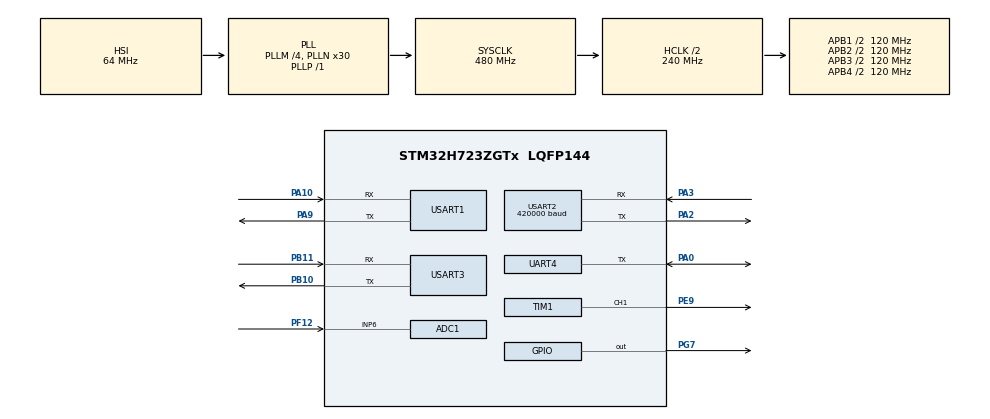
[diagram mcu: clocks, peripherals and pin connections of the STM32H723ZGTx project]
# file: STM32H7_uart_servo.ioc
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ADC1.Channel-2\#ChannelRegularConversion=ADC_CHANNEL_6
ADC1.NbrOfConversionFlag=1
ADC1.OffsetNumber-2\#ChannelRegularConversion=ADC_OFFSET_NONE
ADC1.OffsetSignedSaturation-2\#ChannelRegularConversion=DISABLE
ADC1.Rank-2\#ChannelRegularConversion=1
ADC1.SamplingTime-2\#ChannelRegularConversion=ADC_SAMPLETIME_1CYCLE_5
ADC1.master=1
CORTEX_M7.default_mode_Activation=1
Dma.Request0=USART2_RX
Dma.Request1=USART2_TX
Dma.Request2=USART1_RX
Dma.Request3=USART1_TX
Dma.Request4=USART3_RX
Dma.Request5=USART3_TX
Dma.USART1_RX.2.Direction=DMA_PERIPH_TO_MEMORY
Dma.USART1_RX.2.EventEnable=DISABLE
Dma.USART1_RX.2.FIFOMode=DMA_FIFOMODE_DISABLE
Dma.USART1_RX.2.Instance=DMA1_Stream0
Dma.USART1_RX.2.MemDataAlignment=DMA_MDATAALIGN_BYTE
Dma.USART1_RX.2.MemInc=DMA_MINC_ENABLE
Dma.USART1_RX.2.Mode=DMA_NORMAL
Dma.USART1_RX.2.PeriphDataAlignment=DMA_PDATAALIGN_BYTE
Dma.USART1_RX.2.PeriphInc=DMA_PINC_DISABLE
Dma.USART1_RX.2.Polarity=HAL_DMAMUX_REQ_GEN_RISING
Dma.USART1_RX.2.Priority=DMA_PRIORITY_LOW
Dma.USART1_RX.2.RequestNumber=1
Dma.USART1_RX.2.SignalID=NONE
Dma.USART1_RX.2.SyncEnable=DISABLE
Dma.USART1_RX.2.SyncPolarity=HAL_DMAMUX_SYNC_NO_EVENT
Dma.USART1_RX.2.SyncRequestNumber=1
Dma.USART1_RX.2.SyncSignalID=NONE
Dma.USART1_TX.3.Direction=DMA_MEMORY_TO_PERIPH
Dma.USART1_TX.3.EventEnable=DISABLE
Dma.USART1_TX.3.FIFOMode=DMA_FIFOMODE_DISABLE
Dma.USART1_TX.3.Instance=DMA1_Stream1
Dma.USART1_TX.3.MemDataAlignment=DMA_MDATAALIGN_BYTE
Dma.USART1_TX.3.MemInc=DMA_MINC_ENABLE
Dma.USART1_TX.3.Mode=DMA_NORMAL
Dma.USART1_TX.3.PeriphDataAlignment=DMA_PDATAALIGN_BYTE
Dma.USART1_TX.3.PeriphInc=DMA_PINC_DISABLE
Dma.USART1_TX.3.Polarity=HAL_DMAMUX_REQ_GEN_RISING
Dma.USART1_TX.3.Priority=DMA_PRIORITY_LOW
Dma.USART1_TX.3.RequestNumber=1
Dma.USART1_TX.3.SignalID=NONE
Dma.USART1_TX.3.SyncEnable=DISABLE
Dma.USART1_TX.3.SyncPolarity=HAL_DMAMUX_SYNC_NO_EVENT
Dma.USART1_TX.3.SyncRequestNumber=1
Dma.USART1_TX.3.SyncSignalID=NONE
Dma.USART2_RX.0.Direction=DMA_PERIPH_TO_MEMORY
Dma.USART2_RX.0.EventEnable=DISABLE
Dma.USART2_RX.0.FIFOMode=DMA_FIFOMODE_DISABLE
Dma.USART2_RX.0.Instance=DMA1_Stream2
Dma.USART2_RX.0.MemDataAlignment=DMA_MDATAALIGN_BYTE
Dma.USART2_RX.0.MemInc=DMA_MINC_ENABLE
Dma.USART2_RX.0.Mode=DMA_NORMAL
Dma.USART2_RX.0.PeriphDataAlignment=DMA_PDATAALIGN_BYTE
Dma.USART2_RX.0.PeriphInc=DMA_PINC_DISABLE
Dma.USART2_RX.0.Polarity=HAL_DMAMUX_REQ_GEN_RISING
Dma.USART2_RX.0.Priority=DMA_PRIORITY_LOW
Dma.USART2_RX.0.RequestNumber=1
Dma.USART2_RX.0.SignalID=NONE
Dma.USART2_RX.0.SyncEnable=DISABLE
Dma.USART2_RX.0.SyncPolarity=HAL_DMAMUX_SYNC_NO_EVENT
Dma.USART2_RX.0.SyncRequestNumber=1
Dma.USART2_RX.0.SyncSignalID=NONE
Dma.USART2_TX.1.Direction=DMA_MEMORY_TO_PERIPH
Dma.USART2_TX.1.EventEnable=DISABLE
Dma.USART2_TX.1.FIFOMode=DMA_FIFOMODE_DISABLE
Dma.USART2_TX.1.Instance=DMA1_Stream3
Dma.USART2_TX.1.MemDataAlignment=DMA_MDATAALIGN_BYTE
Dma.USART2_TX.1.MemInc=DMA_MINC_ENABLE
Dma.USART2_TX.1.Mode=DMA_NORMAL
Dma.USART2_TX.1.PeriphDataAlignment=DMA_PDATAALIGN_BYTE
Dma.USART2_TX.1.PeriphInc=DMA_PINC_DISABLE
Dma.USART2_TX.1.Polarity=HAL_DMAMUX_REQ_GEN_RISING
Dma.USART2_TX.1.Priority=DMA_PRIORITY_LOW
Dma.USART2_TX.1.RequestNumber=1
Dma.USART2_TX.1.SignalID=NONE
Dma.USART2_TX.1.SyncEnable=DISABLE
Dma.USART2_TX.1.SyncPolarity=HAL_DMAMUX_SYNC_NO_EVENT
Dma.USART2_TX.1.SyncRequestNumber=1
Dma.USART2_TX.1.SyncSignalID=NONE
Dma.USART3_RX.4.Direction=DMA_PERIPH_TO_MEMORY
Dma.USART3_RX.4.EventEnable=DISABLE
Dma.USART3_RX.4.FIFOMode=DMA_FIFOMODE_DISABLE
Dma.USART3_RX.4.Instance=DMA1_Stream4
Dma.USART3_RX.4.MemDataAlignment=DMA_MDATAALIGN_BYTE
Dma.USART3_RX.4.MemInc=DMA_MINC_ENABLE
Dma.USART3_RX.4.Mode=DMA_NORMAL
Dma.USART3_RX.4.PeriphDataAlignment=DMA_PDATAALIGN_BYTE
Dma.USART3_RX.4.PeriphInc=DMA_PINC_DISABLE
Dma.USART3_RX.4.Polarity=HAL_DMAMUX_REQ_GEN_RISING
Dma.USART3_RX.4.Priority=DMA_PRIORITY_HIGH
Dma.USART3_RX.4.RequestNumber=1
Dma.USART3_RX.4.SignalID=NONE
Dma.USART3_RX.4.SyncEnable=DISABLE
Dma.USART3_RX.4.SyncPolarity=HAL_DMAMUX_SYNC_NO_EVENT
Dma.USART3_RX.4.SyncRequestNumber=1
Dma.USART3_RX.4.SyncSignalID=NONE
Dma.USART3_TX.5.Direction=DMA_MEMORY_TO_PERIPH
Dma.USART3_TX.5.EventEnable=DISABLE
Dma.USART3_TX.5.FIFOMode=DMA_FIFOMODE_DISABLE
Dma.USART3_TX.5.Instance=DMA1_Stream5
Dma.USART3_TX.5.MemDataAlignment=DMA_MDATAALIGN_BYTE
Dma.USART3_TX.5.MemInc=DMA_MINC_ENABLE
Dma.USART3_TX.5.Mode=DMA_NORMAL
Dma.USART3_TX.5.PeriphDataAlignment=DMA_PDATAALIGN_BYTE
Dma.USART3_TX.5.PeriphInc=DMA_PINC_DISABLE
Dma.USART3_TX.5.Polarity=HAL_DMAMUX_REQ_GEN_RISING
Dma.USART3_TX.5.Priority=DMA_PRIORITY_HIGH
Dma.USART3_TX.5.RequestNumber=1
Dma.USART3_TX.5.SignalID=NONE
Dma.USART3_TX.5.SyncEnable=DISABLE
Dma.USART3_TX.5.SyncPolarity=HAL_DMAMUX_SYNC_NO_EVENT
Dma.USART3_TX.5.SyncRequestNumber=1
Dma.USART3_TX.5.SyncSignalID=NONE
FREERTOS.Tasks01=defaultTask,24,512,StartDefaultTask,Default,NULL,Dynamic,NULL,NULL;myTask02,8,128,StartTask02,Default,NULL,Dynamic,NULL,NULL;myTask03,8,256,StartTask03,Default,NULL,Dynamic,NULL,NULL
Mcu.Family=STM32H7
Mcu.Name=STM32H723ZGTx
Mcu.Package=LQFP144
NVIC.DMA1_Stream0_IRQn=true\:5\:0\:false\:false\:true\:true\:false\:true\:true
NVIC.DMA1_Stream1_IRQn=true\:5\:0\:false\:false\:true\:true\:false\:true\:true
NVIC.DMA1_Stream2_IRQn=true\:5\:0\:false\:false\:true\:true\:false\:true\:true
NVIC.DMA1_Stream3_IRQn=true\:5\:0\:false\:false\:true\:true\:false\:true\:true
NVIC.DMA1_Stream4_IRQn=true\:5\:0\:false\:false\:true\:true\:false\:true\:true
NVIC.DMA1_Stream5_IRQn=true\:5\:0\:false\:false\:true\:true\:false\:true\:true
NVIC.PriorityGroup=NVIC_PRIORITYGROUP_4
NVIC.TIM23_IRQn=true\:15\:0\:false\:false\:true\:false\:false\:true\:true
NVIC.TimeBase=TIM23_IRQn
NVIC.TimeBaseIP=TIM23
NVIC.UART4_IRQn=true\:5\:0\:false\:false\:true\:true\:true\:true\:true
NVIC.USART1_IRQn=true\:5\:0\:false\:false\:true\:true\:false\:true\:true
NVIC.USART2_IRQn=true\:5\:0\:false\:false\:true\:true\:false\:true\:true
NVIC.USART3_IRQn=true\:5\:0\:false\:false\:true\:true\:true\:true\:true
PA0.GPIO_PuPd=GPIO_PULLUP
PA0.GPIO_Speed=GPIO_SPEED_FREQ_VERY_HIGH
PA0.Mode=Half_duplex(single_wire_mode)
PA0.Signal=UART4_TX
PA10.Mode=Asynchronous
PA10.Signal=USART1_RX
PA13(JTMS/SWDIO).Mode=Serial_Wire
PA13(JTMS/SWDIO).Signal=DEBUG_JTMS-SWDIO
PA14(JTCK/SWCLK).Mode=Serial_Wire
PA14(JTCK/SWCLK).Signal=DEBUG_JTCK-SWCLK
PA2.Mode=Asynchronous
PA2.Signal=USART2_TX
PA3.Mode=Asynchronous
PA3.Signal=USART2_RX
PA9.Mode=Asynchronous
PA9.Signal=USART1_TX
PB10.Mode=Asynchronous
PB10.Signal=USART3_TX
PB11.Mode=Asynchronous
PB11.Signal=USART3_RX
PC14-OSC32_IN.Mode=LSE-External-Oscillator
PC14-OSC32_IN.Signal=RCC_OSC32_IN
PC15-OSC32_OUT.Mode=LSE-External-Oscillator
PC15-OSC32_OUT.Signal=RCC_OSC32_OUT
PE9.Signal=S_TIM1_CH1
PF12.Mode=IN6-Single-Ended
PF12.Signal=ADC1_INP6
PG7.Signal=GPIO_Output
PH0-OSC_IN.Mode=HSE-External-Oscillator
PH0-OSC_IN.Signal=RCC_OSC_IN
PH1-OSC_OUT.Mode=HSE-External-Oscillator
PH1-OSC_OUT.Signal=RCC_OSC_OUT
ProjectManager.HeapSize=0x200
ProjectManager.StackSize=0x400
ProjectManager.TargetToolchain=MDK-ARM V5.32
RCC.ADCFreq_Value=96000000
RCC.APB1Freq_Value=120000000
RCC.APB2Freq_Value=120000000
RCC.APB3Freq_Value=120000000
RCC.APB4Freq_Value=120000000
RCC.CortexFreq_Value=480000000
RCC.D1PPRE=RCC_APB3_DIV2
RCC.D2PPRE1=RCC_APB1_DIV2
RCC.D2PPRE2=RCC_APB2_DIV2
RCC.D3PPRE=RCC_APB4_DIV2
RCC.DIVM1=4
RCC.DIVM2=4
RCC.DIVN1=30
RCC.DIVN2=12
RCC.DIVP1=1
RCC.HCLKFreq_Value=240000000
RCC.HPRE=RCC_HCLK_DIV2
RCC.PLL1_VCO_SEL-AdvancedSettings=RCC_PLL1VCOWIDE
RCC.PLL2FRACN=0
RCC.PLL3FRACN=0
RCC.PLLFRACN=0
RCC.SYSCLKFreq_VALUE=480000000
RCC.SYSCLKSource=RCC_SYSCLKSOURCE_PLLCLK
RCC.USBFreq_Value=240000000
SH.S_TIM1_CH1.0=TIM1_CH1,PWM Generation1 CH1
TIM1.Channel-PWM\ Generation1\ CH1=TIM_CHANNEL_1
USART1.VirtualMode-Asynchronous=VM_ASYNC
USART2.BaudRate=420000
USART2.VirtualMode-Asynchronous=VM_ASYNC
USART3.VirtualMode-Asynchronous=VM_ASYNC
VP_FREERTOS_VS_CMSIS_V2.Mode=CMSIS_V2
VP_SYS_VS_tim23.Mode=TIM23
board=custom

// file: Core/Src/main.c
/* USER CODE BEGIN Header */
/**
 ******************************************************************************
 * @file           : main.c
 * @brief          : Main program body
 ******************************************************************************
 * @attention
 *
 * Copyright (c) 2025 STMicroelectronics.
 * All rights reserved.
 *
 * This software is licensed under terms that can be found in the LICENSE file
 * in the root directory of this software component.
 * If no LICENSE file comes with this software, it is provided AS-IS.
 *
 ******************************************************************************
 */
/* USER CODE END Header */
#include "main.h"
#include "cmsis_os.h"
#include "adc.h"
#include "dma.h"
#include "tim.h"
#include "usart.h"
#include "gpio.h"

/* USER CODE BEGIN Includes */
#include "hexapod_servo.h"
#include "elrs.h"
#include "bus_servo_c.h"
#include "IMU948.h"
/* USER CODE END Includes */

/* USER CODE BEGIN PV */
// 硬件串坣針定坑函�??
int fputc(int ch, FILE *f)
{
    HAL_UART_Transmit(&huart1, (uint8_t *)&ch, 1, HAL_MAX_DELAY);
    // HAL_UART_Transmit_DMA(&huart1, (uint8_t*)&ch, 1);
    return ch;
}
void toggle_led(void)
{
    HAL_GPIO_TogglePin(GPIOG, GPIO_PIN_7);
}
/*
串坣接收中断回调函数
*/
uint8_t Rx_data[200] = {0};
char received_string[256];
extern DMA_HandleTypeDef hdma_usart1_rx;

void HAL_UARTEx_RxEventCallback(UART_HandleTypeDef *huart, uint16_t Size)
{
    // printf("HAL_UARTEx_RxEventCallback\r\n");
    if (huart == &huart1)
    {
        strcpy(received_string, (char *)Rx_data);
        fprintf(stdout, "%s\r\n", received_string); // 将串�??1接收到的数杮返回到串�??1
        memset(Rx_data, 0, sizeof(Rx_data));
        HAL_UARTEx_ReceiveToIdle_DMA(huart, Rx_data, sizeof(Rx_data) - 1);
        __HAL_DMA_DISABLE_IT(&hdma_usart1_rx, DMA_IT_HT);
    }
    else if (huart == &huart2)
    {
        ELRS_UARTE_RxCallback(Size);
    }
    else if (huart == &huart3)
    {

        // IMU948_UART_Init();
        // printf("IMU948_UART_Init\r\n");
        IMU948_RX_Callback(Size);
        // printf("%d\r\n", __HAL_UART_GET_FLAG(&huart3, UART_FLAG_IDLE));
    }
}
// ?? HAL_UART_ErrorCallback ??
void HAL_UART_ErrorCallback(UART_HandleTypeDef *huart)
{
    printf("error%d\r\n", huart->ErrorCode);
    if (huart->ErrorCode & HAL_UART_ERROR_ORE)
    {
        // ??????
        __HAL_UART_CLEAR_OREFLAG(huart);
    }
    if (huart->ErrorCode & HAL_UART_ERROR_FE)
    {
        // ?????
        __HAL_UART_CLEAR_FEFLAG(huart);
    }
    // ???? DMA ??
    IMU948_UART_Init();
    // HAL_UARTEx_ReceiveToIdle_DMA(huart, IMU948_RX_BUF, sizeof(IMU948_RX_BUF));
}

void HAL_UART_RxCpltCallback(UART_HandleTypeDef *huart)
{
    // if (huart == &huart6 || huart == &huart4 || huart == &huart5)
    if (huart == &huart4)
    {
        // printf("UART_RxCpltCallback\r\n");
        UART_Servo_Rx_Callback();
        // toggle_led();
    }
}
/* USER CODE END PV */

void SystemClock_Config(void);
static void MPU_Config(void);
void MX_FREERTOS_Init(void);

int main(void)
{

    /* MPU Configuration--------------------------------------------------------*/
    MPU_Config();

    /* MCU Configuration--------------------------------------------------------*/

    /* Reset of all peripherals, Initializes the Flash interface and the Systick. */
    HAL_Init();

    /* Configure the system clock */
    SystemClock_Config();

    /* Initialize all configured peripherals */
    MX_GPIO_Init();
    MX_DMA_Init();
    MX_TIM1_Init();
    MX_USART1_UART_Init();
    MX_USART2_UART_Init();
    MX_ADC1_Init();
    MX_UART4_Init();
    MX_USART3_UART_Init();
    /* USER CODE BEGIN 2 */
    HAL_UARTEx_ReceiveToIdle_DMA(&huart1, Rx_data, 200 - 1); // 坯用空闲中断接收
    __HAL_DMA_DISABLE_IT(&hdma_usart1_rx, DMA_IT_HT);        // 关闭DMA传输过坊中断

    ELRS_Init();
    // IMU948_UART_Init();
    IMU948_Init();
    IMU948_euler_to_zero();
    // IMU_restar();
    UART_Servo_Receive_Enable();
    /* USER CODE END 2 */

    /* Init scheduler */
    osKernelInitialize();

    /* Call init function for freertos objects (in cmsis_os2.c) */
    MX_FREERTOS_Init();

    /* Start scheduler */
    osKernelStart();

    /* We should never get here as control is now taken by the scheduler */

    /* Infinite loop */
    while (1)
    {

    }
}

void SystemClock_Config(void)
{
    RCC_OscInitTypeDef RCC_OscInitStruct = {0};
    RCC_ClkInitTypeDef RCC_ClkInitStruct = {0};

    /** Supply configuration update enable
     */
    HAL_PWREx_ConfigSupply(PWR_LDO_SUPPLY);

    /** Configure the main internal regulator output voltage
     */
    __HAL_PWR_VOLTAGESCALING_CONFIG(PWR_REGULATOR_VOLTAGE_SCALE0);

    while (!__HAL_PWR_GET_FLAG(PWR_FLAG_VOSRDY))
    {
    }

    /** Initializes the RCC Oscillators according to the specified parameters
     * in the RCC_OscInitTypeDef structure.
     */
    RCC_OscInitStruct.OscillatorType = RCC_OSCILLATORTYPE_HSI;
    RCC_OscInitStruct.HSIState = RCC_HSI_DIV1;
    RCC_OscInitStruct.HSICalibrationValue = 64;
    RCC_OscInitStruct.PLL.PLLState = RCC_PLL_ON;
    RCC_OscInitStruct.PLL.PLLSource = RCC_PLLSOURCE_HSI;
    RCC_OscInitStruct.PLL.PLLM = 4;
    RCC_OscInitStruct.PLL.PLLN = 30;
    RCC_OscInitStruct.PLL.PLLP = 1;
    RCC_OscInitStruct.PLL.PLLQ = 2;
    RCC_OscInitStruct.PLL.PLLR = 2;
    RCC_OscInitStruct.PLL.PLLRGE = RCC_PLL1VCIRANGE_3;
    RCC_OscInitStruct.PLL.PLLVCOSEL = RCC_PLL1VCOWIDE;
    RCC_OscInitStruct.PLL.PLLFRACN = 0;
    if (HAL_RCC_OscConfig(&RCC_OscInitStruct) != HAL_OK)
    {
        Error_Handler();
    }

    /** Initializes the CPU, AHB and APB buses clocks
     */
    RCC_ClkInitStruct.ClockType = RCC_CLOCKTYPE_HCLK | RCC_CLOCKTYPE_SYSCLK | RCC_CLOCKTYPE_PCLK1 | RCC_CLOCKTYPE_PCLK2 | RCC_CLOCKTYPE_D3PCLK1 | RCC_CLOCKTYPE_D1PCLK1;
    RCC_ClkInitStruct.SYSCLKSource = RCC_SYSCLKSOURCE_PLLCLK;
    RCC_ClkInitStruct.SYSCLKDivider = RCC_SYSCLK_DIV1;
    RCC_ClkInitStruct.AHBCLKDivider = RCC_HCLK_DIV2;
    RCC_ClkInitStruct.APB3CLKDivider = RCC_APB3_DIV2;
    RCC_ClkInitStruct.APB1CLKDivider = RCC_APB1_DIV2;
    RCC_ClkInitStruct.APB2CLKDivider = RCC_APB2_DIV2;
    RCC_ClkInitStruct.APB4CLKDivider = RCC_APB4_DIV2;

    if (HAL_RCC_ClockConfig(&RCC_ClkInitStruct, FLASH_LATENCY_3) != HAL_OK)
    {
        Error_Handler();
    }
}

/* MPU Configuration */

void MPU_Config(void)
{
    MPU_Region_InitTypeDef MPU_InitStruct = {0};

    /* Disables the MPU */
    HAL_MPU_Disable();

    /** Initializes and configures the Region and the memory to be protected
     */
    MPU_InitStruct.Enable = MPU_REGION_ENABLE;
    MPU_InitStruct.Number = MPU_REGION_NUMBER0;
    MPU_InitStruct.BaseAddress = 0x0;
    MPU_InitStruct.Size = MPU_REGION_SIZE_4GB;
    MPU_InitStruct.SubRegionDisable = 0x87;
    MPU_InitStruct.TypeExtField = MPU_TEX_LEVEL0;
    MPU_InitStruct.AccessPermission = MPU_REGION_NO_ACCESS;
    MPU_InitStruct.DisableExec = MPU_INSTRUCTION_ACCESS_DISABLE;
    MPU_InitStruct.IsShareable = MPU_ACCESS_SHAREABLE;
    MPU_InitStruct.IsCacheable = MPU_ACCESS_NOT_CACHEABLE;
    MPU_InitStruct.IsBufferable = MPU_ACCESS_NOT_BUFFERABLE;

    HAL_MPU_ConfigRegion(&MPU_InitStruct);
    /* Enables the MPU */
    HAL_MPU_Enable(MPU_PRIVILEGED_DEFAULT);
}

void HAL_TIM_PeriodElapsedCallback(TIM_HandleTypeDef *htim)
{
    if (htim->Instance == TIM23)
    {
        HAL_IncTick();
    }
}

void Error_Handler(void)
{
    __disable_irq();
    while (1)
    {
    }
}

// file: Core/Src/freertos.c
/* USER CODE BEGIN Header */
/**
 ******************************************************************************
 * File Name          : freertos.c
 * Description        : Code for freertos applications
 ******************************************************************************
 * @attention
 *
 * Copyright (c) 2025 STMicroelectronics.
 * All rights reserved.
 *
 * This software is licensed under terms that can be found in the LICENSE file
 * in the root directory of this software component.
 * If no LICENSE file comes with this software, it is provided AS-IS.
 *
 ******************************************************************************
 */
/* USER CODE END Header */

#include "FreeRTOS.h"
#include "task.h"
#include "main.h"
#include "cmsis_os.h"

/* USER CODE BEGIN Includes */
#include "bus_servo_c.h"
#include "hexapod_servo.h"
#include "tool.h"
#include "user_adc.h"
#include "elrs.h"
#include "IMU948.h"
/* USER CODE END Includes */

/* USER CODE BEGIN PTD */
extern float init_position[6][3];
extern float leg_position[6][3];
extern ELRS_Data elrs_data;
extern uint8_t elrs_is_link;
extern IMU948_Data imu948_Data;
/* USER CODE END PTD */

/* Definitions for defaultTask */
osThreadId_t defaultTaskHandle;
const osThreadAttr_t defaultTask_attributes = {
    .name = "defaultTask",
    .stack_size = 512 * 4,
    .priority = (osPriority_t)osPriorityNormal,
};
/* Definitions for myTask02 */
osThreadId_t myTask02Handle;
const osThreadAttr_t myTask02_attributes = {
    .name = "myTask02",
    .stack_size = 128 * 4,
    .priority = (osPriority_t)osPriorityLow,
};
/* Definitions for myTask03 */
osThreadId_t myTask03Handle;
const osThreadAttr_t myTask03_attributes = {
    .name = "myTask03",
    .stack_size = 256 * 4,
    .priority = (osPriority_t)osPriorityLow,
};

void StartDefaultTask(void *argument);
void StartTask02(void *argument);
void StartTask03(void *argument);

void MX_FREERTOS_Init(void); /* (MISRA C 2004 rule 8.1) */

void MX_FREERTOS_Init(void)
{

  /* Create the thread(s) */
  /* creation of defaultTask */
  defaultTaskHandle = osThreadNew(StartDefaultTask, NULL, &defaultTask_attributes);

  /* creation of myTask02 */
  myTask02Handle = osThreadNew(StartTask02, NULL, &myTask02_attributes);

  /* creation of myTask03 */
  myTask03Handle = osThreadNew(StartTask03, NULL, &myTask03_attributes);

}

void StartDefaultTask(void *argument)
{
  /* USER CODE BEGIN StartDefaultTask */
  // hexapod_servo_init();
  init_leg_matrix();
  osDelay(1000);
  // set_test_position();
  memcpy(leg_position, init_position, sizeof(init_position));
  osDelay(50);
  // Set_all_leg_Global_position(leg_position);
  /* Infinite loop */
  for (;;)
  {
    // Set_Servo_ID(0, 3);
    // osDelay(500);
    // Set_Servo_angle_offset(3, 0);
    // osDelay(2000);
    // joint_test(3);
    // osDelay(500);
    // if (elrs_data.A == 1)
    // {
    //   HexapodMove2(0, 0, 60, 30, 10, 2, 1);
    // }
    if (elrs_data.D == 1)
    {
      hexapod_stop_all_servo();
    }
    toggle_led();
    osDelay(50);
    balance_testing();
    // HexapodMove_test();
    // Set_servo_Global_position_IK_test();
    // Set_servo_Local_position_IK_test();
    // MoveAndRotateBody_test();
    float v = Get_Voltage();
    if (elrs_is_link == 1)
    {
      // printf("L_X=%.2f,L_Y=%.2f,R_X=%.2f,R_Y=%.2f,A=%d,B=%d,C=%d,D=%d,E=%d,F=%d,V=%.2f,\r\n", elrs_data.Left_X, elrs_data.Left_Y, elrs_data.Right_X, elrs_data.Right_Y, elrs_data.A, elrs_data.B, elrs_data.C, elrs_data.D, elrs_data.E, elrs_data.F, v);
    }
    printf("euler X=%.2f,euler Y=%.2f,euler Z=%.2f,aX=%.2f,aY=%.2f,aZ=%.2f,X=%.1f,Y=%.1f,Z=%.1f,wendu=%.2f,timestamp=%d\r\n", imu948_Data.euler_X, imu948_Data.euler_Y, imu948_Data.euler_Z, imu948_Data.accel_X, imu948_Data.accel_Y, imu948_Data.accel_Z, imu948_Data.pos_X, imu948_Data.pos_Y, imu948_Data.pos_Z, imu948_Data.temperature, imu948_Data.timestamp);
    // printf("Voltage: %f\r\n", v);
    // toggle_led();
    // joint_test(18);
    // osDelay(50);
    // printf("test\r\n");
    osDelay(1);
  }
  /* USER CODE END StartDefaultTask */
}

void StartTask02(void *argument)
{
  for (;;)
  {
    osDelay(1);
  }
}

/* USER CODE BEGIN Header_StartTask03 */
/**
 * @brief Function implementing the myTask03 thread.
 * @param argument: Not used
 * @retval None
 */
extern uint16_t elrs_heartbeat_counter;
extern UART_HandleTypeDef huart2;
extern UART_HandleTypeDef huart3;
/* USER CODE END Header_StartTask03 */
void StartTask03(void *argument)
{
  /* USER CODE BEGIN StartTask03 */
  uint16_t last_elrs_heartbeat_counterl;
  /* Infinite loop */
  for (;;)
  {
    if (HAL_GetTick() - imu948_Data.last_update_time > 1000)
    {
      IMU948_UART_Init();
      printf("IMU948 初始化\r\n");
    }
    if (last_elrs_heartbeat_counterl == elrs_heartbeat_counter)
    {
      // printf("ELRS 未连��?? 重新初始化\r\n");
      elrs_is_link = 0;
      // 停止DMA接收
      HAL_UART_DMAStop(&huart2);
      // 恢复错误中断使能
      ATOMIC_SET_BIT(huart2.Instance->CR3, USART_CR3_EIE);
      // 清除帧错误标��?
      __HAL_UART_CLEAR_FLAG(&huart2, UART_CLEAR_FEF);
      memset(&elrs_data, 0, sizeof(elrs_data));
      ELRS_Init();
    }
    // printf("%d,%d\r\n", HAL_GetTick(), imu948_Data.last_update_time);
    last_elrs_heartbeat_counterl = elrs_heartbeat_counter;
    osDelay(500);
    osDelay(1);
  }
  /* USER CODE END StartTask03 */
}
